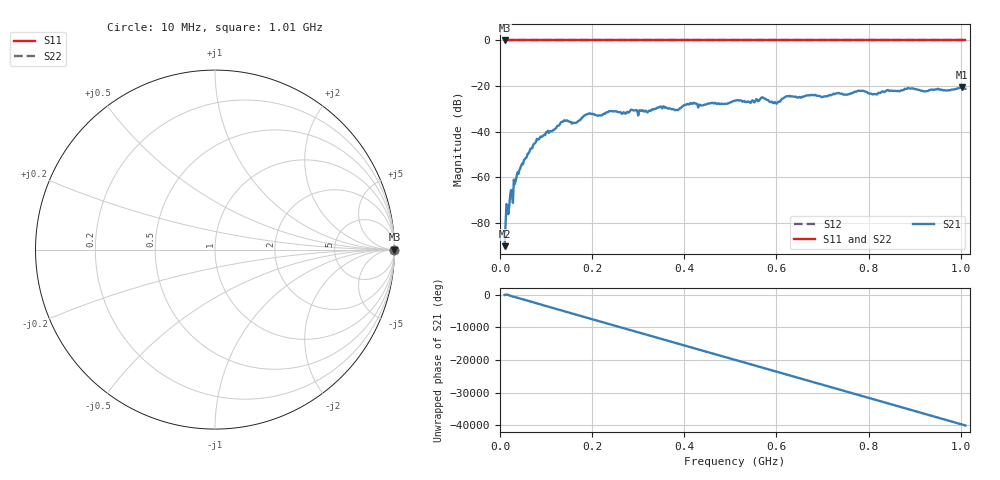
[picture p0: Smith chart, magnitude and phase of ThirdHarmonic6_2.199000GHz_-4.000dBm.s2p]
! 8/17/2025 2:12:29 AM
! C:\ANRITSUVNA\TEMP\TEMP.S2P
! CHANNEL.1
! TR.MEASUREMENT
! RAW.DATA
! RF.CORRECTION.OFF
! AVERAGING.OFF
! IF.BANDWIDTH: 5KHZ
! SWEEPTYPE:  FREQ.SWEEP(Linear)
! Reference Plane Port Info
! PORT:  PORT1  PORT2
! DISTANCE:  0  m  0  m
! TIME:  0  s  0  s
! PHASE.OFFSET:  0  deg.  0  deg.
! LOSS:  0  dB  0  dB
! REF.LOSS:  0  dB  0  dB
! REF.FREQ:  0  Hz  0  Hz
! Power Info
! POWER:  -20  dBm  -20  dBm
! EFF.POWER:  -20  dBm  -20  dBm
! SOURCE.ATTEN:  0  dB  0  dB
! TEST.ATTEN:  0  dB  0  dB
# GHZ S RI R 50.0
! FREQ.GHZ  S11RE  S11IM  S21RE  S21IM  S12RE  S12IM  S22RE  S22IM
!; PortSelection: Port_12
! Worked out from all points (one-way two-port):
!   501 points, 10 MHz to 1.01 GHz, reference 50 ohm
!   highest |S21| = -20.45 dB at 1.002 GHz (marker M1); lowest = -90.1 dB at 10 MHz (marker M2)
!   lowest |S11| = 0.0 dB at 10 MHz (marker M3)
!   |S11| at or under -10 dB: nowhere
!   |S22| runs from 0.0 to 0.0 dB; largest |S21 - S12| = 1.1
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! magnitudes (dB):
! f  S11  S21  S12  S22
! 10 MHz  0.0  -90.1  0.0  0.0
! 34 MHz  0.0  -61.5  0.0  0.0
! 76 MHz  0.0  -45.0  0.0  0.0
! 136 MHz  0.0  -35.7  0.0  0.0
! 160 MHz  0.0  -36.2  0.0  0.0
! 178 MHz  0.0  -33.8  0.0  0.0
! 192 MHz  0.0  -32.1  0.0  0.0
! 322 MHz  0.0  -31.1  0.0  0.0
! 344 MHz  0.0  -29.5  0.0  0.0
! 384 MHz  0.0  -30.4  0.0  0.0
! 416 MHz  0.0  -27.7  0.0  0.0
! 510 MHz  0.0  -26.3  0.0  0.0
! 540 MHz  0.0  -26.8  0.0  0.0
! 570 MHz  0.0  -24.9  0.0  0.0
! 598 MHz  0.0  -27.4  0.0  0.0
! 624 MHz  0.0  -24.4  0.0  0.0
! 678 MHz  0.0  -23.9  0.0  0.0
! 782 MHz  0.0  -22.1  0.0  0.0
! 814 MHz  0.0  -23.4  0.0  0.0
! 844 MHz  0.0  -22.0  0.0  0.0
! 1.002 GHz  0.0  -20.5  0.0  0.0
! 1.01 GHz  0.0  -21.2  0.0  0.0
